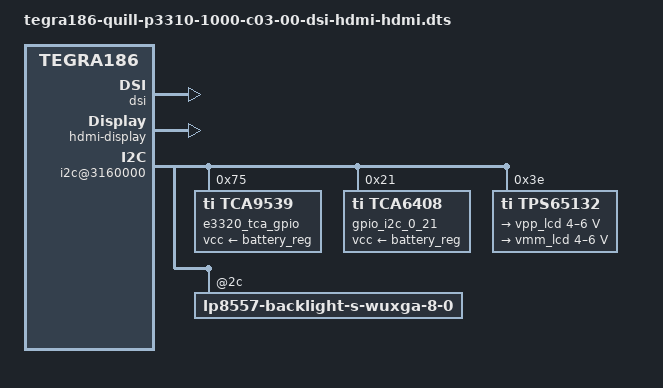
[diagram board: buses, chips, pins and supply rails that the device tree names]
/*
 * tegra186-quill-p3310-1000-c03-00-dsi-hdmi-hdmi.dts: DTS file for Quill
 * to enable display on all three heads with dual HDMI: DSI, HDMI and HDMI.
 *
 * Copyright (c) 2016-2017, NVIDIA CORPORATION.  All rights reserved.
 *
 * This program is free software; you can redistribute it and/or modify
 * it under the terms of the GNU General Public License as published by
 * the Free Software Foundation; version 2 of the License.
 *
 * This program is distributed in the hope that it will be useful, but WITHOUT
 * ANY WARRANTY; without even the implied warranty of MERCHANTABILITY or
 * FITNESS FOR A PARTICULAR PURPOSE.  See the GNU General Public License for
 * more details.
 *
 */

#include "tegra186-quill-p3310-1000-c03-00-base.dts"

/ {
	nvidia,dtsfilename = __FILE__;
	nvidia,dtbbuildtime = __DATE__, __TIME__;

	host1x {
		nvdisplay@15200000 {
			status = "okay";
		};

		dsi {
			status = "okay";
			panel-s-wuxga-8-0 {
				status = "okay";
			};
		};

		nvdisplay@15220000 {
			status = "okay";
			/delete-property/ vdd-dp-pwr-supply;
			/delete-property/ avdd-dp-pll-supply;
			/delete-property/ vdd-edp-sec-mode-supply;
			/delete-property/ vdd-dp-pad-supply;
			/delete-property/ vdd_hdmi_5v0-supply;
			avdd_hdmi-supply = <&spmic_ldo7>;
			avdd_hdmi_pll-supply = <&spmic_sd2>;
			vdd_hdmi_5v0-supply = <&vdd_hdmi>;
		};

		sor {
			status = "okay";
			dp-display {
				bootloader-status = "disabled";
				status = "disabled";
			};
			hdmi-display {
				bootloader-status = "okay";
				status = "okay";
				disp-default-out {
					nvidia,out-hdcp-policy = <TEGRA_DC_HDCP_POLICY_ALWAYS_ON>;
				};
			};
		};

		dpaux@155c0000 {
			status = "okay";
		};
	};

	i2c@3160000 {
		e3320_tca_gpio: tca9539@75 {
			compatible = "ti,tca9539";
			status = "okay";
			reg = <0x75>;
			gpio-controller;
			#gpio-cells = <2>;
			vcc-supply = <&battery_reg>;
			5v0_hdmi_en {
				gpio-hog;
				gpios = <14 0>;
				output-high;
				label = "hdmi_en";
			};
		};

		gpio_i2c_0_21: gpio@21 {
			compatible = "ti,tca6408";
			status = "okay";
			reg = <0x21>;
			gpio-controller;
			#gpio-cells = <2>;
			vcc-supply = <&battery_reg>;
			vpp-vmm-rails {
				gpio-hog;
				gpios = <2 0 3 0>;
				output-high;
				label = "vmm-en-rail", "vmm-en-rail";
			};
		};

		tps65132@3e {
			reg = <0x3e>;
			compatible = "ti,tps65132";
			status = "okay";
			vpp_lcd: outp {
				regulator-name = "outp";
				regulator-min-microvolt = <4000000>;
				regulator-max-microvolt = <6000000>;
				enable-active-high;
				ti,enable-gpio = <&gpio_i2c_0_77 4 0>;
			};

			vmm_lcd: outn {
				regulator-name = "outn";
				regulator-min-microvolt = <4000000>;
				regulator-max-microvolt = <6000000>;
				enable-active-high;
				ti,enable-gpio = <&gpio_i2c_0_21 2 0>;
				ti,active-discharge-gpio = <&gpio_i2c_0_21 3 0>;
				ti,active-discharge-time = <2000>; /* in us */
			};
		};

		lp8557-backlight-s-wuxga-8-0@2c {
			status = "okay";
		};
	};

	fixed-regulators {
		regulator@10 {
			gpio = <&gpio_i2c_0_21 0 0>;
		};
	};

	plugin-manager {
		/delete-node/ fragment-e3320-dp;
	};
};
